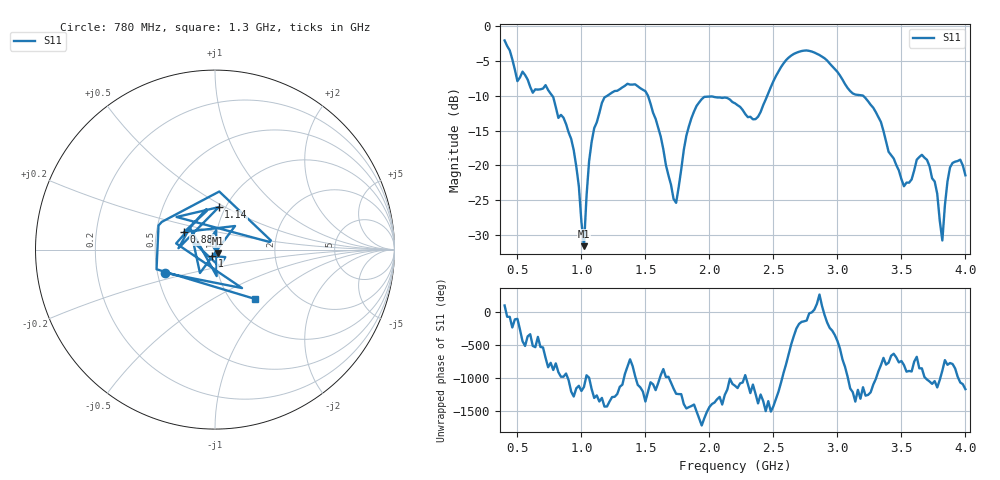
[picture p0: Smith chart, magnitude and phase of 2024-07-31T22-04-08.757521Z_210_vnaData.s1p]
!Created with skrf (http://scikit-rf.org).
# Hz S RI R 50.0
!freq ReS11 ImS11
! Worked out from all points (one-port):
!   181 points, 400 MHz to 4 GHz, reference 50 ohm
!   lowest |S11| = -31.6 dB at 1.02 GHz (marker M1), VSWR 1.05, Z = 51.5 - j2.2 ohm
!   |S11| at or under -10 dB: 772.2 MHz to 1.202 GHz (429.8 MHz wide, 43.5 % of centre); 1.52 GHz to 2.452 GHz (931.4 MHz wide, 46.9 % of centre); 3.202 GHz to end of sweep
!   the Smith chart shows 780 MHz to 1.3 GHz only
!   S11 on the Smith chart (normalised r, x): 780 MHz: 0.55, -0.16; 880 MHz: 0.69, +0.14; 1 GHz: 0.96, -0.07; 1.14 GHz: 0.93, +0.47; 1.3 GHz: 1.28, -0.81
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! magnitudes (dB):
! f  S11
! 400 MHz  -2.0
! 500 MHz  -7.9
! 780 MHz  -10.2
! 860 MHz  -13.1
! 880 MHz  -14.1
! 940 MHz  -17.8
! 1 GHz  -28.1
! 1.02 GHz  -31.6
! 1.06 GHz  -19.4
! 1.14 GHz  -12.5
! 1.3 GHz  -9.1
! 1.5 GHz  -9.3
! 1.72 GHz  -24.8
! 1.76 GHz  -23.1
! 1.82 GHz  -15.7
! 1.9 GHz  -11.4
! 2.2 GHz  -11.1
! 2.36 GHz  -13.4
! 2.66 GHz  -4.0
! 2.9 GHz  -4.6
! 3.1 GHz  -9.3
! 3.28 GHz  -11.7
! 3.56 GHz  -22.5
! 3.7 GHz  -19.2
! 3.78 GHz  -24.1
! 3.82 GHz  -30.8
! 3.88 GHz  -20.3
! 4 GHz  -21.4
